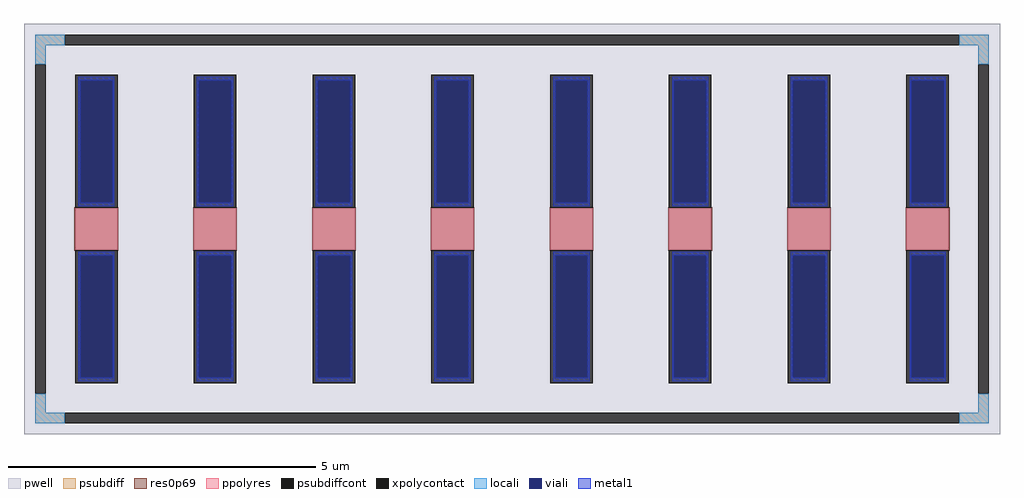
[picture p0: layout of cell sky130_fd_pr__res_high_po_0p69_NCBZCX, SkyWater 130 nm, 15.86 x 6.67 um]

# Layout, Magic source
magic
tech sky130A
magscale 1 2
<< pwell >>
rect -1586 -667 1586 667
<< psubdiff >>
rect -1550 597 -1454 631
rect 1454 597 1550 631
rect -1550 535 -1516 597
rect 1516 535 1550 597
rect -1550 -597 -1516 -535
rect 1516 -597 1550 -535
rect -1550 -631 -1454 -597
rect 1454 -631 1550 -597
<< psubdiffcont >>
rect -1454 597 1454 631
rect -1550 -535 -1516 535
rect 1516 -535 1550 535
rect -1454 -631 1454 -597
<< xpolycontact >>
rect -1420 69 -1282 501
rect -1420 -501 -1282 -69
rect -1034 69 -896 501
rect -1034 -501 -896 -69
rect -648 69 -510 501
rect -648 -501 -510 -69
rect -262 69 -124 501
rect -262 -501 -124 -69
rect 124 69 262 501
rect 124 -501 262 -69
rect 510 69 648 501
rect 510 -501 648 -69
rect 896 69 1034 501
rect 896 -501 1034 -69
rect 1282 69 1420 501
rect 1282 -501 1420 -69
<< ppolyres >>
rect -1420 -69 -1282 69
rect -1034 -69 -896 69
rect -648 -69 -510 69
rect -262 -69 -124 69
rect 124 -69 262 69
rect 510 -69 648 69
rect 896 -69 1034 69
rect 1282 -69 1420 69
<< locali >>
rect -1550 597 -1454 631
rect 1454 597 1550 631
rect -1550 535 -1516 597
rect 1516 535 1550 597
rect -1550 -597 -1516 -535
rect 1516 -597 1550 -535
rect -1550 -631 -1454 -597
rect 1454 -631 1550 -597
<< viali >>
rect -1404 86 -1298 483
rect -1018 86 -912 483
rect -632 86 -526 483
rect -246 86 -140 483
rect 140 86 246 483
rect 526 86 632 483
rect 912 86 1018 483
rect 1298 86 1404 483
rect -1404 -483 -1298 -86
rect -1018 -483 -912 -86
rect -632 -483 -526 -86
rect -246 -483 -140 -86
rect 140 -483 246 -86
rect 526 -483 632 -86
rect 912 -483 1018 -86
rect 1298 -483 1404 -86
<< metal1 >>
rect -1410 483 -1292 495
rect -1410 86 -1404 483
rect -1298 86 -1292 483
rect -1410 74 -1292 86
rect -1024 483 -906 495
rect -1024 86 -1018 483
rect -912 86 -906 483
rect -1024 74 -906 86
rect -638 483 -520 495
rect -638 86 -632 483
rect -526 86 -520 483
rect -638 74 -520 86
rect -252 483 -134 495
rect -252 86 -246 483
rect -140 86 -134 483
rect -252 74 -134 86
rect 134 483 252 495
rect 134 86 140 483
rect 246 86 252 483
rect 134 74 252 86
rect 520 483 638 495
rect 520 86 526 483
rect 632 86 638 483
rect 520 74 638 86
rect 906 483 1024 495
rect 906 86 912 483
rect 1018 86 1024 483
rect 906 74 1024 86
rect 1292 483 1410 495
rect 1292 86 1298 483
rect 1404 86 1410 483
rect 1292 74 1410 86
rect -1410 -86 -1292 -74
rect -1410 -483 -1404 -86
rect -1298 -483 -1292 -86
rect -1410 -495 -1292 -483
rect -1024 -86 -906 -74
rect -1024 -483 -1018 -86
rect -912 -483 -906 -86
rect -1024 -495 -906 -483
rect -638 -86 -520 -74
rect -638 -483 -632 -86
rect -526 -483 -520 -86
rect -638 -495 -520 -483
rect -252 -86 -134 -74
rect -252 -483 -246 -86
rect -140 -483 -134 -86
rect -252 -495 -134 -483
rect 134 -86 252 -74
rect 134 -483 140 -86
rect 246 -483 252 -86
rect 134 -495 252 -483
rect 520 -86 638 -74
rect 520 -483 526 -86
rect 632 -483 638 -86
rect 520 -495 638 -483
rect 906 -86 1024 -74
rect 906 -483 912 -86
rect 1018 -483 1024 -86
rect 906 -495 1024 -483
rect 1292 -86 1410 -74
rect 1292 -483 1298 -86
rect 1404 -483 1410 -86
rect 1292 -495 1410 -483
<< res0p69 >>
rect -1422 -71 -1280 71
rect -1036 -71 -894 71
rect -650 -71 -508 71
rect -264 -71 -122 71
rect 122 -71 264 71
rect 508 -71 650 71
rect 894 -71 1036 71
rect 1280 -71 1422 71
<< properties >>
string FIXED_BBOX -1533 -614 1533 614
string gencell sky130_fd_pr__res_high_po_0p69
string library sky130
string parameters w 0.690 l 0.69 m 1 nx 8 wmin 0.690 lmin 0.50 rho 319.8 val 375.417 dummy 0 dw 0.0 term 19.188 sterm 0.0 caplen 0 guard 1 glc 1 grc 1 gtc 1 gbc 1 compatible {sky130_fd_pr__res_high_po_0p35  sky130_fd_pr__res_high_po_0p69 sky130_fd_pr__res_high_po_1p41  sky130_fd_pr__res_high_po_2p85 sky130_fd_pr__res_high_po_5p73} full_metal 1 wmax 0.690 n_guard 0 hv_guard 0 vias 1 viagb 0 viagt 0 viagl 0 viagr 0
<< end >>
